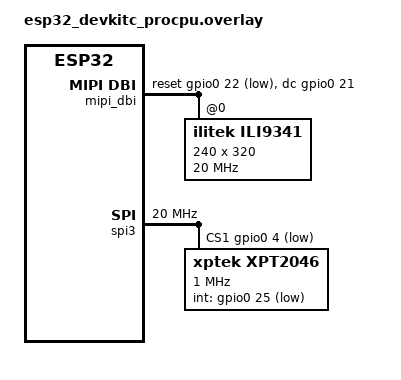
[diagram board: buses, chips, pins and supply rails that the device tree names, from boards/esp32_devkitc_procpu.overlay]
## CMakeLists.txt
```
cmake_minimum_required(VERSION 3.20.0)

find_package(Zephyr REQUIRED HINTS $ENV{ZEPHYR_BASE})

project(ili9341_xpt2046_lvgl)

target_sources(app PRIVATE
    src/main.c
    src/logo.c
)
```

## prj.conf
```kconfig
# GPIO and SPI
CONFIG_GPIO=y
CONFIG_SPI=y

# Display - ILI9341
CONFIG_DISPLAY=y
CONFIG_MIPI_DBI=y
CONFIG_MIPI_DBI_SPI=y
CONFIG_ILI9341=y

# System
CONFIG_LOG=y
CONFIG_MAIN_STACK_SIZE=12288

# LVGL
CONFIG_LVGL=y
CONFIG_LV_COLOR_DEPTH_16=y
CONFIG_LV_COLOR_16_SWAP=y

# LVGL memory and rendering buffers
CONFIG_LV_Z_MEM_POOL_SIZE=24576
CONFIG_LV_Z_VDB_SIZE=20

# LVGL widgets and fonts
CONFIG_LV_USE_LABEL=y
CONFIG_LV_FONT_DEFAULT_UNSCII_8=y
CONFIG_LV_FONT_UNSCII_8=y
CONFIG_LV_FONT_MONTSERRAT_18=y

# Software rendering
CONFIG_LV_USE_DRAW_SW=y

# Touch - XPT2046
CONFIG_INPUT=y
CONFIG_INPUT_XPT2046=y
CONFIG_LV_Z_POINTER_INPUT=y
```

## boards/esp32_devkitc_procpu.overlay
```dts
/*
ILI9341	    ESP32 
VCC	        3.3V
GND	        GND
SCK	        GPIO18
MOSI	    GPIO23
CS	        GPIO5
DC	        GPIO21
RST	        GPIO22
LED	        3.3V (ili GPIO za kontrolu)

XPT2046 (TOUCH) 
T_CLK       GPIO18
 T_DIN      GPIO23 
 T_DO       GPIO19 
 T_CS       GPIO4 
 T_IRQ      GPIO25
 SDO(MISO)  GPIO19
  
 */

#include <zephyr/dt-bindings/gpio/gpio.h>
#include <zephyr/dt-bindings/display/panel.h>

/ {
    chosen {
        zephyr,display = &ili9341;
        zephyr,touch = &xpt2046;
    };

    /* LVGL touchscreen input */
    lvgl_pointer {
        compatible = "zephyr,lvgl-pointer-input";
        input = <&xpt2046>;
    };

    /* ILI9341 display interface */
    mipi_dbi {
        compatible = "zephyr,mipi-dbi-spi";
        spi-dev = <&spi3>;

        dc-gpios = <&gpio0 21 GPIO_ACTIVE_HIGH>;
        reset-gpios = <&gpio0 22 GPIO_ACTIVE_LOW>;

        #address-cells = <1>;
        #size-cells = <0>;

        ili9341: ili9341@0 {
            compatible = "ilitek,ili9341";
            reg = <0>;

            mipi-max-frequency = <20000000>;
            mipi-mode = "MIPI_DBI_MODE_SPI_4WIRE";

            width = <240>;
            height = <320>;

            /* Landscape orientation */
            rotation = <90>;
            h-mirror;
            /* RGB565 pixel format */
            pixel-format = <PANEL_PIXEL_FORMAT_RGB_565>;
        };
    };
};

/* Shared SPI3 bus: display and touch controller */
&spi3 {
    status = "okay";

    cs-gpios = <&gpio0 5 GPIO_ACTIVE_LOW>,
               <&gpio0 4 GPIO_ACTIVE_LOW>;

    clock-frequency = <20000000>;

    /* XPT2046 resistive touchscreen */
    xpt2046: xpt2046@1 {
        compatible = "xptek,xpt2046";
        reg = <1>;

        spi-max-frequency = <1000000>;

        int-gpios = <&gpio0 25
                     (GPIO_PULL_UP | GPIO_ACTIVE_LOW)>;

        /* Original touchscreen dimensions */
        touchscreen-size-x = <240>;
        touchscreen-size-y = <320>;

        /* Initial touchscreen calibration */
        min-x = <0>;
        min-y = <0>;
        max-x = <4000>;
        max-y = <4000>;
    };
};
```

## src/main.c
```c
#include <zephyr/kernel.h>
#include <zephyr/device.h>
#include <zephyr/devicetree.h>
#include <zephyr/drivers/display.h>
#include <lvgl.h>
#include "logo.h"

#define MESSAGE_TIMEOUT_MS 5000

/* Message label and its hide timer. */
static lv_obj_t *msg_label;
static lv_timer_t *msg_timer;

/* Hide the message after the timeout. */
static void hide_msg_cb(lv_timer_t *timer)
{
    lv_obj_add_flag(msg_label, LV_OBJ_FLAG_HIDDEN);
    lv_timer_pause(timer);
}

/* Show the message and restart the timeout on each click. */
static void btn_event_cb(lv_event_t *event)
{
    if (lv_event_get_code(event) != LV_EVENT_CLICKED) {
        return;
    }

    lv_label_set_text(msg_label, "BUTTON CLICKED!");
    lv_obj_remove_flag(msg_label, LV_OBJ_FLAG_HIDDEN);

    lv_timer_reset(msg_timer);
    lv_timer_resume(msg_timer);
}

int main(void)
{
    const struct device *display =
        DEVICE_DT_GET(DT_CHOSEN(zephyr_display));

    /* Zephyr initializes LVGL automatically. */
    if (!device_is_ready(display)) {
        printk("Display NOT ready\n");
        return 0;
    }

    lv_display_t *lv_display = lv_display_get_default();

    if (lv_display == NULL) {
        printk("LVGL display NOT available\n");
        return 0;
    }

    lv_obj_t *screen = lv_screen_active();

    /* White background. */
    lv_obj_set_style_bg_color(screen, lv_color_hex(0xFFFFFF), 0);

    /* School logo. */
    lv_obj_t *img = lv_image_create(screen);
    lv_image_set_src(img, &logo);
    lv_obj_align(img, LV_ALIGN_TOP_RIGHT, -5, 5);

    /* Scrolling title. */
    lv_obj_t *title = lv_label_create(screen);
    lv_label_set_text(title, "Zephyr & ESP32 + LVGL + ILI9341");
    lv_obj_set_style_text_font(title, &lv_font_montserrat_18, 0);
    lv_obj_set_style_anim_duration(title, 4000, 0);
    lv_label_set_long_mode(title, LV_LABEL_LONG_MODE_SCROLL_CIRCULAR);

    int32_t screen_width =
        lv_display_get_horizontal_resolution(lv_display);

    lv_obj_set_width(title,
                     screen_width > 140 ? screen_width - 140 : screen_width);

    lv_obj_align(title, LV_ALIGN_TOP_LEFT, 5, 15);

    /* Center button. */
    lv_obj_t *btn = lv_button_create(screen);
    lv_obj_align(btn, LV_ALIGN_CENTER, 0, 0);
    lv_obj_add_event_cb(btn, btn_event_cb, LV_EVENT_CLICKED, NULL);

    lv_obj_t *btn_text = lv_label_create(btn);
    lv_label_set_text(btn_text, "CLICK");
    lv_obj_center(btn_text);

    /* Initially hidden click message. */
    msg_label = lv_label_create(screen);
    lv_label_set_text(msg_label, "BUTTON CLICKED!");
    lv_obj_align_to(msg_label, btn, LV_ALIGN_OUT_BOTTOM_MID, 0, 10);
    lv_obj_add_flag(msg_label, LV_OBJ_FLAG_HIDDEN);

    /* Create one reusable timer. */
    msg_timer = lv_timer_create(hide_msg_cb, MESSAGE_TIMEOUT_MS, NULL);

    if (msg_timer == NULL) {
        printk("Failed to create LVGL timer\n");
        return 0;
    }

    lv_timer_pause(msg_timer);

    /* Render the initial screen and turn the display on. */
    lv_timer_handler();
    display_blanking_off(display);

    while (1) {
        lv_timer_handler();
        k_sleep(K_MSEC(10));
    }
}
```

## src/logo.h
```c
#ifndef LOGO_H
#define LOGO_H

#include "logo.h"
extern const lv_img_dsc_t logo; 
#endif 
```
